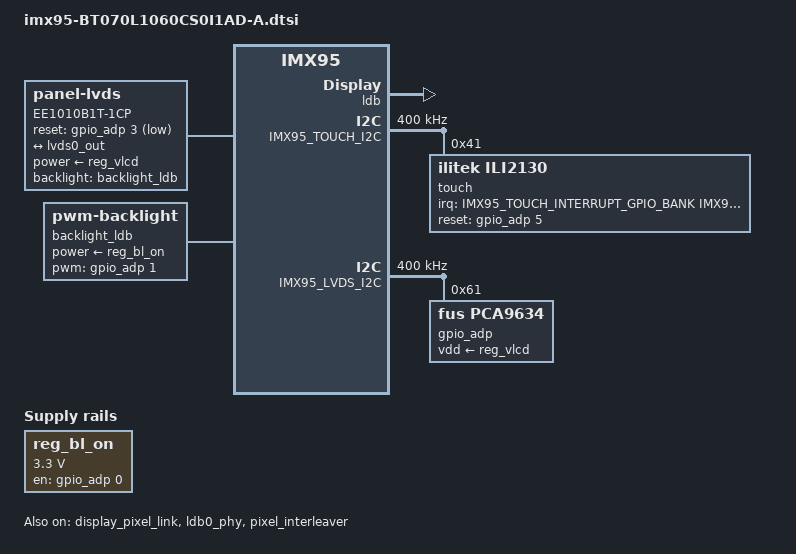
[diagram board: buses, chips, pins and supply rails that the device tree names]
// SPDX-License-Identifier: (GPL-2.0+ OR MIT)
/*
 * Copyright 2025-2026 F&S Elektronik Systeme GmbH
 */

/ {

	lvds0_panel: lvds0-panel {
		compatible = "panel-lvds";
		power-supply = <&reg_vlcd>;
		backlight = <&backlight_ldb>;

		reset-gpios = <&gpio_adp 3 GPIO_ACTIVE_LOW>;

		data-mapping = "vesa-24";
		label = "EE1010B1T-1CP";
		width-mm = <223>;
		height-mm = <125>;
		status = "okay";

		panel-timing {
			clock-frequency = <49500000>;
			hactive = <1024>;
			vactive = <600>;
			hback-porch = <160>;
			hfront-porch = <76>;
			hsync-len = <10>;
			vback-porch = <23>;
			vfront-porch = <12>;
			vsync-len = <20>;
			pixelclk-active = <0>;
			de-active = <1>;
		};

		port {
			panel_lvds_in: endpoint {
				remote-endpoint = <&lvds0_out>;
			};
		};
	};

	reg_bl_on: bl_on {
		compatible = "regulator-fixed";
		regulator-name = "BL_ON";
		gpio = <&gpio_adp 0 GPIO_ACTIVE_HIGH>;
		regulator-min-microvolt = <3300000>;
		regulator-max-microvolt = <3300000>;
		enable-active-high;
	};


	backlight_ldb: backlight_ldb {
		compatible = "pwm-backlight";
		#pwm-cells = <3>;
		pwms = <&gpio_adp 1 5263157 1>;
		power-supply = <&reg_bl_on>;
		brightness-levels = <0 1 5 10 18 28 41 56
			                 73 92 113 137 163 192 222 255>;
		default-brightness-level = <14>;
		fb-names = "mxs-lcdif0";
		status = "okay";
	};
};

&display_pixel_link {
	status = "okay";
};

&ldb {
	#address-cells = <1>;
	#size-cells = <0>;
	assigned-clocks = <&scmi_clk IMX95_CLK_LDBPLL_VCO>,
			  <&scmi_clk IMX95_CLK_LDBPLL>;
	assigned-clock-rates = <3040800000>, <506800000>;
	// assigned-clock-parents = <0>, <&scmi_clk IMX95_CLK_LDBPLL_VCO>;
	status = "okay";

	channel@0 {
		#address-cells = <1>;
		#size-cells = <0>;
		reg = <0>;
		// fsl,data-mapping = "spwg";
		// fsl,data-width = <24>;
		status = "okay";

		port@1 {
			reg = <1>;

			lvds0_out: endpoint {
				remote-endpoint = <&panel_lvds_in>;
			};
		};
	};
};

&ldb0_phy {
	status = "okay";
};

&pixel_interleaver {
	#address-cells = <1>;
	#size-cells = <0>;
	status = "okay";

	channel@0 {
		reg = <0>;
		status = "okay";
	};
};

&IMX95_TOUCH_I2C {
	status = "okay";
	clock-frequency = <400000>;

	/* Ilitek PCAP touch on Touch-Connector (I2C) */
	touch: ilitek2130@41 {
		compatible = "ilitek,ili2130";
		reg = <0x41>;
		interrupt-parent = <&IMX95_TOUCH_INTERRUPT_GPIO_BANK>;
		interrupts = <IMX95_TOUCH_INTERRUPT_GPIO_NUM IRQ_TYPE_LEVEL_LOW>;
		irq-gpios = <&IMX95_TOUCH_INTERRUPT_GPIO_BANK IMX95_TOUCH_INTERRUPT_GPIO_NUM GPIO_ACTIVE_HIGH>;
		reset-gpios = <&gpio_adp 5 GPIO_ACTIVE_HIGH>;
	};
};

&IMX95_LVDS_I2C {
	status = "okay";
	clock-frequency = <400000>;

	gpio_adp: pca9634@61 {
		compatible = "fus,pca9634";
		reg = <0x61>;
		vdd-supply = <&reg_vlcd>;
		#address-cells = <1>;
		#size-cells = <0>;
		#pwm-cells = <3>;
		#gpio-cells = <2>;
		led@0 {
			reg = <0>;
			label = "BL_ON";
			type = "GPIO";
			default-on;		/* or: keep-value */
			active-high;
		};
		led@1 {
			reg = <1>;
			label = "BL_PWM";
			type = "PWM";
			default-on;	     /* or: keep-value */
			active-low;
		};
		led@2 {
			reg = <2>;
			label = "2-unused";
			type = "LED";
			active-low;
		};
		led@3 {
			reg = <3>;
			label = "MIPI_RST";
			type = "GPIO";
			active-low;
			default-on;	     /* or: keep-value */
		};
		led@4 {
			reg = <4>;
			label = "4-unused";
			type = "LED";
			active-low;
		};
		led@5 {
			reg = <5>;
			label = "I2C_RST";
			type = "GPIO";
			active-high;
			default-on;     /* or: keep-value */
		};
		led@6 {
			reg = <6>;
			label = "6-unused";
			type = "LED";
			active-low;
		};
		led@7 {
			reg = <7>;
			label = "7-doNotUse";
			type = "LED";
			active-low;
		};
	};
};
